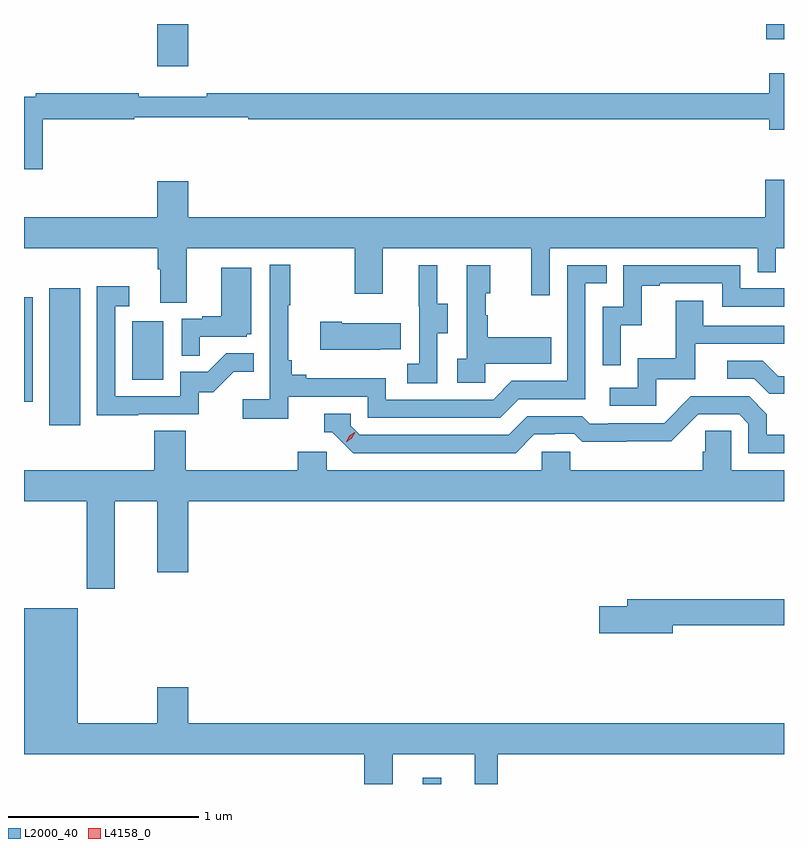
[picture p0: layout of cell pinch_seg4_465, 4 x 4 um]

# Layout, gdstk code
import gdstk
lib = gdstk.Library(unit=1e-6, precision=1e-09)
def R(c, l, rs):  # rectangles x0, y0, x1, y1
    for r in rs: c.add(gdstk.rectangle(r[:2], r[2:], *l))
def P(c, l, *ps):  # polygons
    for p in ps: c.add(gdstk.Polygon(p, *l))
L2000_40 = (2000, 40)
L4158_0 = (4158, 0)

pinch_seg4_465 = lib.new_cell('pinch_seg4_465')
R(pinch_seg4_465, L2000_40, [(945.626,763.364,945.724,763.396), (943.661,765.252,943.822,765.973), (943.527,765.375,943.572,765.926), (944.096,765.492,944.26,765.799), (944.228,767.142,944.392,767.364), (947.433,767.283,947.527,767.364)])
P(pinch_seg4_465, L2000_40, [(943.625,766.864),(944.108,766.864),(944.108,766.872),(944.708,766.872),(944.708,766.864),(947.45,766.864),(947.45,766.808),(947.527,766.808),(947.527,767.104),(947.45,767.104),(947.45,767),(944.488,767),(944.488,766.981),(944.132,766.981),(944.132,767),(943.588,767),(943.588,766.98),(943.527,766.98),(943.527,766.599),(943.625,766.599)],
  [(944.228,766.348),(943.527,766.348),(943.527,766.184),(944.231,766.184),(944.231,766.072),(944.243,766.072),(944.243,765.898),(944.383,765.898),(944.383,766.184),(945.268,766.184),(945.268,765.945),(945.415,765.945),(945.415,766.184),(946.196,766.184),(946.196,765.936),(946.293,765.936),(946.293,766.184),(947.388,766.184),(947.388,766.057),(947.484,766.057),(947.484,766.184),(947.527,766.184),(947.527,766.543),(947.429,766.543),(947.429,766.348),(944.392,766.348),(944.392,766.537),(944.228,766.537)],
  [(944.918,765.402),(945.336,765.402),(945.336,765.291),(946.033,765.291),(946.132,765.39),(946.482,765.39),(946.482,765.999),(946.595,765.999),(946.595,766.095),(946.386,766.095),(946.386,765.486),(946.095,765.486),(945.996,765.387),(945.432,765.387),(945.432,765.499),(945.013,765.499),(945.013,765.518),(944.936,765.518),(944.936,765.595),(944.917,765.595),(944.917,765.883),(944.929,765.883),(944.929,766.096),(944.82,766.096),(944.82,765.388),(944.679,765.388),(944.679,765.286),(944.918,765.286)],
  [(946.668,765.779),(946.778,765.779),(946.778,765.987),(946.873,765.987),(946.873,765.999),(947.202,765.999),(947.202,765.876),(947.527,765.876),(947.527,765.972),(947.298,765.972),(947.298,766.095),(946.68,766.095),(946.68,765.876),(946.572,765.876),(946.572,765.567),(946.668,765.567)],
  [(945.702,765.736),(945.757,765.736),(945.757,765.891),(945.703,765.891),(945.703,766.093),(945.605,766.093),(945.605,765.879),(945.606,765.879),(945.606,765.575),(945.543,765.575),(945.543,765.472),(945.702,765.472)],
  [(945.954,765.575),(946.301,765.575),(946.301,765.715),(945.967,765.715),(945.967,765.83),(945.957,765.83),(945.957,765.948),(945.982,765.948),(945.982,766.093),(945.858,766.093),(945.858,765.602),(945.807,765.602),(945.807,765.477),(945.954,765.477)],
  [(944.453,765.717),(944.7,765.717),(944.7,765.732),(944.722,765.732),(944.722,766.081),(944.564,766.081),(944.564,765.826),(944.465,765.826),(944.465,765.813),(944.358,765.813),(944.358,765.619),(944.453,765.619)],
  [(944.129,765.309),(944.448,765.309),(944.448,765.426),(944.524,765.426),(944.631,765.533),(944.735,765.533),(944.735,765.632),(944.591,765.632),(944.493,765.534),(944.349,765.534),(944.349,765.405),(944.007,765.405),(944.007,765.879),(944.08,765.879),(944.08,765.985),(943.911,765.985),(943.911,765.304),(944.129,765.304)],
  [(946.854,765.495),(947.059,765.495),(947.059,765.681),(947.527,765.681),(947.527,765.777),(947.101,765.777),(947.101,765.907),(946.957,765.907),(946.957,765.604),(946.758,765.604),(946.758,765.45),(946.611,765.45),(946.611,765.354),(946.854,765.354)],
  [(945.401,765.653),(945.509,765.653),(945.509,765.79),(945.199,765.79),(945.199,765.798),(945.087,765.798),(945.087,765.65),(945.401,765.65)],
  [(947.527,765.51),(947.497,765.51),(947.416,765.591),(947.229,765.591),(947.229,765.498),(947.37,765.498),(947.45,765.418),(947.527,765.418)],
  [(946.213,765.204),(946.32,765.204),(946.32,765.207),(946.423,765.207),(946.465,765.165),(946.698,765.165),(946.698,765.167),(946.934,765.167),(947.076,765.309),(947.292,765.309),(947.34,765.261),(947.34,765.105),(947.527,765.105),(947.527,765.201),(947.437,765.201),(947.437,765.311),(947.343,765.405),(947.037,765.405),(946.896,765.264),(946.603,765.264),(946.603,765.261),(946.504,765.261),(946.465,765.3),(946.176,765.3),(946.077,765.201),(945.294,765.201),(945.246,765.249),(945.246,765.312),(945.107,765.312),(945.107,765.216),(945.15,765.216),(945.261,765.105),(946.114,765.105)],
  [(944.005,764.852),(944.228,764.852),(944.228,764.478),(944.392,764.478),(944.392,764.852),(947.527,764.852),(947.527,765.016),(947.25,765.016),(947.25,765.224),(947.113,765.224),(947.113,765.114),(947.099,765.114),(947.099,765.016),(946.401,765.016),(946.401,765.114),(946.251,765.114),(946.251,765.016),(945.12,765.016),(945.12,765.114),(944.969,765.114),(944.969,765.016),(944.378,765.016),(944.378,765.224),(944.213,765.224),(944.213,765.016),(943.527,765.016),(943.527,764.852),(943.858,764.852),(943.858,764.391),(944.005,764.391)],
  [(946.942,764.2),(947.527,764.2),(947.527,764.336),(946.703,764.336),(946.703,764.3),(946.554,764.3),(946.554,764.158),(946.942,764.158)],
  [(945.469,763.52),(945.899,763.52),(945.899,763.364),(946.021,763.364),(946.021,763.52),(947.527,763.52),(947.527,763.684),(944.392,763.684),(944.392,763.873),(944.228,763.873),(944.228,763.684),(943.81,763.684),(943.81,764.29),(943.527,764.29),(943.527,763.52),(945.317,763.52),(945.317,763.364),(945.469,763.364)])
P(pinch_seg4_465, L4158_0, [(945.222,765.163),(945.222,765.163),(945.238,765.196),(945.269,765.216),(945.27,765.216),(945.27,765.215),(945.253,765.183),(945.223,765.163)])

lib.write_gds('pinch_seg4_465.gds')
